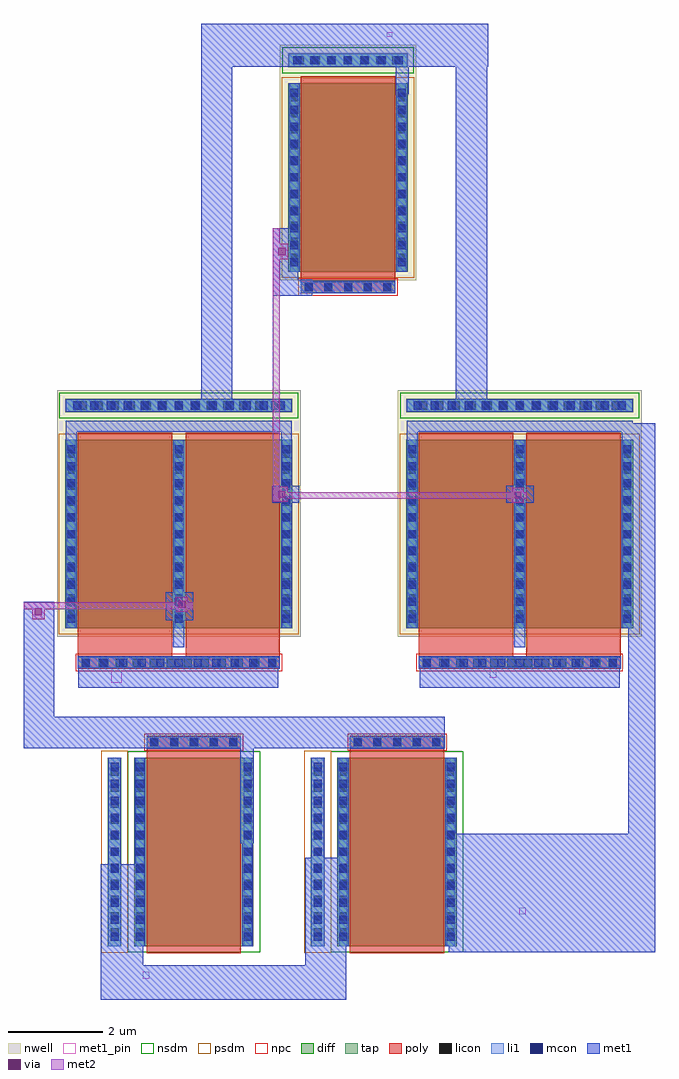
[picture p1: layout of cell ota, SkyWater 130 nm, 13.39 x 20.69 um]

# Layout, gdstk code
import gdstk
lib = gdstk.Library(unit=1e-6, precision=1e-09)
def R(c, l, rs):  # rectangles x0, y0, x1, y1
    for r in rs: c.add(gdstk.rectangle(r[:2], r[2:], *l))
def A(c, l, x, y, w, h, nx, ny, dx, dy):  # array of equal rectangles
    R(c, l, [(x+i*dx, y+j*dy, x+i*dx+w, y+j*dy+h) for i in range(nx) for j in range(ny)])
nwell = (64, 20)
diff = (65, 20)
tap = (65, 44)
poly = (66, 20)
licon = (66, 44)
li1 = (67, 20)
mcon = (67, 44)
met1_pin = (68, 16)
met1 = (68, 20)
via = (68, 44)
met2 = (69, 20)
nsdm = (93, 44)
psdm = (94, 20)
npc = (95, 20)

m1m2_c_cdns_778682570064 = lib.new_cell('M1M2_C_CDNS_778682570064')
R(m1m2_c_cdns_778682570064, met1, [(-0.13,-0.16,0.13,0.16)])
R(m1m2_c_cdns_778682570064, via, [(-0.075,-0.075,0.075,0.075)])
R(m1m2_c_cdns_778682570064, met2, [(-0.13,-0.16,0.13,0.16)])

pfet_01v8_cdns_778682570 = lib.new_cell('pfet_01v8_CDNS_778682570062')
R(pfet_01v8_cdns_778682570, nwell, [(-0.445,-0.18,2.445,4.81)])
R(pfet_01v8_cdns_778682570, diff, [(-0.265,0,0,4), (0,0,2,4), (2,0,2.265,4)])
R(pfet_01v8_cdns_778682570, tap, [(-0.265,4.34,2.265,4.63)])
R(pfet_01v8_cdns_778682570, poly, [(0,-0.46,2,-0.19), (0,-0.19,2,0), (0,0,2,4), (0,4,2,4.15)])
A(pfet_01v8_cdns_778682570, licon, 0.08, -0.41, 0.17, 0.17, 3, 1, 0.42, 0)
A(pfet_01v8_cdns_778682570, licon, -0.225, 0.215, 0.17, 0.17, 1, 11, 0, 0.34)
A(pfet_01v8_cdns_778682570, licon, 2.055, 0.215, 0.17, 0.17, 1, 11, 0, 0.34)
A(pfet_01v8_cdns_778682570, licon, -0.105, 4.4, 0.17, 0.17, 7, 1, 0.34, 0)
R(pfet_01v8_cdns_778682570, licon, [(1.335,-0.41,1.505,-0.24), (1.75,-0.41,1.92,-0.24)])
R(pfet_01v8_cdns_778682570, li1, [(0,-0.44,2,-0.21), (-0.225,0,-0.055,4), (2.055,0,2.225,4), (-0.255,4.35,2.255,4.62)])
A(pfet_01v8_cdns_778682570, mcon, 0.08, -0.41, 0.17, 0.17, 3, 1, 0.42, 0)
A(pfet_01v8_cdns_778682570, mcon, -0.225, 0.115, 0.17, 0.17, 1, 11, 0, 0.36)
A(pfet_01v8_cdns_778682570, mcon, 2.055, 0.115, 0.17, 0.17, 1, 11, 0, 0.36)
A(pfet_01v8_cdns_778682570, mcon, -0.165, 4.4, 0.17, 0.17, 7, 1, 0.36, 0)
R(pfet_01v8_cdns_778682570, mcon, [(1.335,-0.41,1.505,-0.24), (1.75,-0.41,1.92,-0.24)])
R(pfet_01v8_cdns_778682570, met1, [(0,-0.46,2,-0.19), (-0.255,0,-0.025,4), (2.025,0,2.255,4), (-0.255,4.35,2.255,4.62)])
R(pfet_01v8_cdns_778682570, nsdm, [(-0.395,4.21,2.395,4.76)])
R(pfet_01v8_cdns_778682570, psdm, [(-0.405,-0.13,2.405,4.13)])
R(pfet_01v8_cdns_778682570, npc, [(-0.05,-0.51,2.05,-0.14)])

nfet_01v8_cdns_778682570 = lib.new_cell('nfet_01v8_CDNS_778682570061')
R(nfet_01v8_cdns_778682570, diff, [(-0.265,0,0,4), (0,0,2,4), (2,0,2.265,4)])
R(nfet_01v8_cdns_778682570, tap, [(-0.825,0,-0.535,4)])
R(nfet_01v8_cdns_778682570, poly, [(0,-0.15,2,0), (0,0,2,4), (0,4,2,4.19), (0,4.19,2,4.46)])
A(nfet_01v8_cdns_778682570, licon, -0.765, 0.215, 0.17, 0.17, 1, 11, 0, 0.34)
A(nfet_01v8_cdns_778682570, licon, -0.225, 0.215, 0.17, 0.17, 1, 11, 0, 0.34)
A(nfet_01v8_cdns_778682570, licon, 2.055, 0.215, 0.17, 0.17, 1, 11, 0, 0.34)
A(nfet_01v8_cdns_778682570, licon, 0.08, 4.24, 0.17, 0.17, 3, 1, 0.42, 0)
R(nfet_01v8_cdns_778682570, licon, [(1.335,4.24,1.505,4.41), (1.75,4.24,1.92,4.41)])
R(nfet_01v8_cdns_778682570, li1, [(-0.815,0,-0.545,4), (-0.225,0,-0.055,4), (2.055,0,2.225,4), (0,4.21,2,4.44)])
A(nfet_01v8_cdns_778682570, mcon, -0.765, 0.115, 0.17, 0.17, 1, 11, 0, 0.36)
A(nfet_01v8_cdns_778682570, mcon, -0.225, 0.115, 0.17, 0.17, 1, 11, 0, 0.36)
A(nfet_01v8_cdns_778682570, mcon, 2.055, 0.115, 0.17, 0.17, 1, 11, 0, 0.36)
A(nfet_01v8_cdns_778682570, mcon, 0.08, 4.24, 0.17, 0.17, 3, 1, 0.42, 0)
R(nfet_01v8_cdns_778682570, mcon, [(1.335,4.24,1.505,4.41), (1.75,4.24,1.92,4.41)])
R(nfet_01v8_cdns_778682570, met1, [(-0.815,0,-0.545,4), (-0.255,0,-0.025,4), (2.025,0,2.255,4), (0,4.19,2,4.46)])
R(nfet_01v8_cdns_778682570, nsdm, [(-0.405,-0.13,2.405,4.13)])
R(nfet_01v8_cdns_778682570, psdm, [(-0.965,-0.14,-0.395,4.14)])
R(nfet_01v8_cdns_778682570, npc, [(-0.05,4.14,2.05,4.51)])

c_pfet_01v8_cdns_778682570 = lib.new_cell('pfet_01v8_CDNS_778682570060')
R(c_pfet_01v8_cdns_778682570, nwell, [(-0.445,-0.18,4.725,5.05)])
R(c_pfet_01v8_cdns_778682570, diff, [(-0.265,0,0,4), (0,0,2,4), (2,0,2.28,4), (2.28,0,4.28,4), (4.28,0,4.545,4)])
R(c_pfet_01v8_cdns_778682570, tap, [(-0.265,4.58,4.545,4.87)])
R(c_pfet_01v8_cdns_778682570, poly, [(0,-0.86,4.28,-0.59), (0,-0.59,2,0), (2.28,-0.59,4.28,0), (0,0,2,4), (2.28,0,4.28,4), (0,4,2,4.15), (2.28,4,4.28,4.15)])
A(c_pfet_01v8_cdns_778682570, licon, 0.08, -0.81, 0.17, 0.17, 10, 1, 0.36, 0)
A(c_pfet_01v8_cdns_778682570, licon, -0.225, 0.215, 0.17, 0.17, 3, 11, 2.28, 0.34)
A(c_pfet_01v8_cdns_778682570, licon, 0.015, 4.64, 0.17, 0.17, 13, 1, 0.34, 0)
R(c_pfet_01v8_cdns_778682570, licon, [(3.675,-0.81,3.845,-0.64), (4.03,-0.81,4.2,-0.64)])
A(c_pfet_01v8_cdns_778682570, li1, -0.225, 0, 0.17, 4, 3, 1, 2.28, 0)
R(c_pfet_01v8_cdns_778682570, li1, [(0,-0.84,4.28,-0.61), (-0.255,4.59,4.535,4.86)])
A(c_pfet_01v8_cdns_778682570, mcon, 0.08, -0.81, 0.17, 0.17, 11, 1, 0.395, 0)
A(c_pfet_01v8_cdns_778682570, mcon, -0.225, 0.115, 0.17, 0.17, 3, 11, 2.28, 0.36)
A(c_pfet_01v8_cdns_778682570, mcon, -0.105, 4.64, 0.17, 0.17, 13, 1, 0.36, 0)
A(c_pfet_01v8_cdns_778682570, met1, -0.255, 0, 0.23, 4, 3, 1, 2.28, 0)
R(c_pfet_01v8_cdns_778682570, met1, [(0,-0.86,4.28,-0.59), (2.025,-0.4,2.255,-0.17), (2.025,-0.17,2.255,0), (-0.255,4,-0.025,4.17), (4.305,4,4.535,4.17), (-0.255,4.17,4.535,4.4), (-0.255,4.59,4.535,4.86)])
R(c_pfet_01v8_cdns_778682570, nsdm, [(-0.395,4.45,4.675,5)])
R(c_pfet_01v8_cdns_778682570, psdm, [(-0.405,-0.13,4.685,4.13)])
R(c_pfet_01v8_cdns_778682570, npc, [(-0.05,-0.91,4.33,-0.54)])

ota = lib.new_cell('ota')
R(ota, met1_pin, [(3.005,0.66,3.145,0.8), (10.99,2.025,11.13,2.165), (2.335,6.93,2.565,7.175), (10.365,7.04,10.505,7.18), (8.185,20.63,8.3,20.725)])
R(ota, met1, [(2.12,0.215,7.32,0.945), (2.12,0.555,3.02,3.08), (6.455,0.555,7.32,3.22), (9.495,1.215,13.875,3.73), (13.3,1.215,13.875,12.435), (5.075,3.525,5.36,6.08), (0.485,5.54,1.13,8.645), (0.485,5.54,9.41,6.21), (1.645,6.825,5.885,7.465), (8.88,6.825,13.12,7.465), (3.5,8.26,4.075,8.855), (5.755,10.75,6.33,11.11), (10.72,10.75,11.295,11.11), (4.245,12.685,4.91,20.905), (9.645,12.69,10.31,20.91), (5.76,15.14,6.605,15.475), (5.76,15.14,6.305,16.565), (8.375,19.415,8.65,20.375), (4.245,19.995,10.335,20.91)])
R(ota, met2, [(0.485,8.495,4.075,8.64), (5.76,10.765,5.915,16.565), (5.785,10.83,11.15,10.975)])
ota.add(gdstk.Reference(m1m2_c_cdns_778682570064, (0.795,8.44)))
ota.add(gdstk.Reference(m1m2_c_cdns_778682570064, (3.835,8.595)))
ota.add(gdstk.Reference(m1m2_c_cdns_778682570064, (10.96,10.91)))
ota.add(gdstk.Reference(m1m2_c_cdns_778682570064, (5.95,10.93)))
ota.add(gdstk.Reference(m1m2_c_cdns_778682570064, (5.96,16.075)))
ota.add(gdstk.Reference(pfet_01v8_cdns_778682570, (6.36,15.645)))
ota.add(gdstk.Reference(nfet_01v8_cdns_778682570, (3.09,1.345)))
ota.add(gdstk.Reference(nfet_01v8_cdns_778682570, (7.4,1.345)))
ota.add(gdstk.Reference(c_pfet_01v8_cdns_778682570, (1.635,8.085)))
ota.add(gdstk.Reference(c_pfet_01v8_cdns_778682570, (8.86,8.085)))

lib.write_gds('ota.gds')
